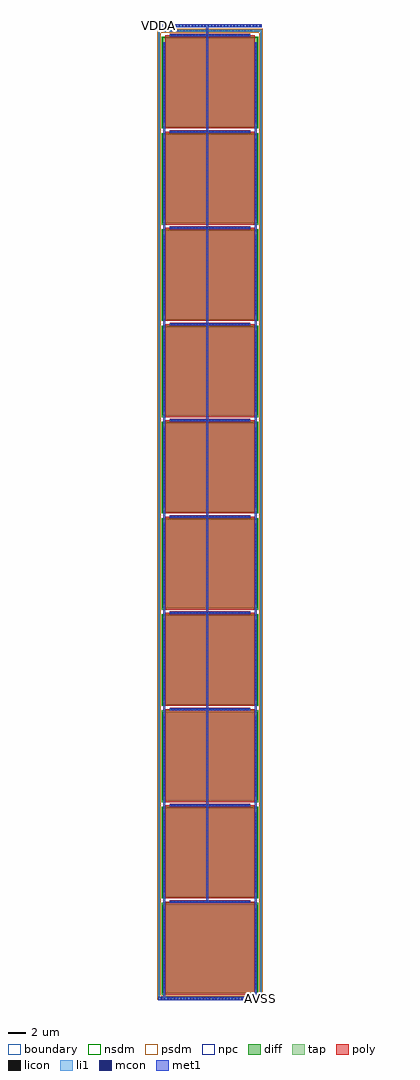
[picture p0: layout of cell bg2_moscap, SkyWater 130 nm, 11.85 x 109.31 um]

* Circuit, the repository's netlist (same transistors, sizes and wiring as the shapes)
* SPICE3 file created from bg2_moscap_lvs.ext - technology: sky130A

X0 AVSS VDDA AVSS AVSS sky130_fd_pr__nfet_01v8 ad=2.9 pd=20.58 as=2.9 ps=20.58 w=10 l=10
X1 AVSS VDDA AVSS AVSS sky130_fd_pr__nfet_01v8 ad=2.9 pd=20.58 as=2.9 ps=20.58 w=10 l=10
X2 AVSS VDDA AVSS AVSS sky130_fd_pr__nfet_01v8 ad=2.9 pd=20.58 as=2.9 ps=20.58 w=10 l=10
X3 AVSS VDDA AVSS AVSS sky130_fd_pr__nfet_01v8 ad=2.9 pd=20.58 as=2.9 ps=20.58 w=10 l=10
X4 AVSS VDDA AVSS AVSS sky130_fd_pr__nfet_01v8 ad=2.9 pd=20.58 as=2.9 ps=20.58 w=10 l=10
X5 AVSS VDDA AVSS AVSS sky130_fd_pr__nfet_01v8 ad=2.9 pd=20.58 as=2.9 ps=20.58 w=10 l=10
X6 AVSS VDDA AVSS AVSS sky130_fd_pr__nfet_01v8 ad=2.9 pd=20.58 as=2.9 ps=20.58 w=10 l=10
X7 AVSS VDDA AVSS AVSS sky130_fd_pr__nfet_01v8 ad=2.9 pd=20.58 as=2.9 ps=20.58 w=10 l=10
X8 AVSS VDDA AVSS AVSS sky130_fd_pr__nfet_01v8 ad=2.9 pd=20.58 as=2.9 ps=20.58 w=10 l=10
X9 AVSS VDDA AVSS AVSS sky130_fd_pr__nfet_01v8 ad=2.9 pd=20.58 as=2.9 ps=20.58 w=10 l=10

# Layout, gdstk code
import gdstk
lib = gdstk.Library(unit=1e-6, precision=1e-09)
def R(c, l, rs):  # rectangles x0, y0, x1, y1
    for r in rs: c.add(gdstk.rectangle(r[:2], r[2:], *l))
def A(c, l, x, y, w, h, nx, ny, dx, dy):  # array of equal rectangles
    R(c, l, [(x+i*dx, y+j*dy, x+i*dx+w, y+j*dy+h) for i in range(nx) for j in range(ny)])
diff = (65, 20)
tap = (65, 44)
poly = (66, 20)
licon = (66, 44)
li1 = (67, 20)
mcon = (67, 44)
met1 = (68, 20)
nsdm = (93, 44)
psdm = (94, 20)
npc = (95, 20)
boundary = (235, 4)

sky130_fd_pr__nfet_01v8_ = lib.new_cell('sky130_fd_pr__nfet_01v8_7BGF84')
A(sky130_fd_pr__nfet_01v8_, diff, -5.29, -53.665, 10.58, 10, 1, 10, 0, 10.78)
R(sky130_fd_pr__nfet_01v8_, tap, [(-5.8,-54.225,5.8,-54.055), (-5.8,-54.055,-5.63,54.055), (5.63,-54.055,5.8,54.055), (-5.8,54.055,5.8,54.225)])
A(sky130_fd_pr__nfet_01v8_, poly, -5, -53.795, 10, 10.405, 1, 10, 0, 10.78)
A(sky130_fd_pr__nfet_01v8_, poly, -4.51, -43.39, 9.02, 0.165, 1, 10, 0, 10.78)
A(sky130_fd_pr__nfet_01v8_, licon, -4.675, -54.225, 0.17, 0.17, 28, 2, 0.34, 108.28)
A(sky130_fd_pr__nfet_01v8_, licon, -5.23, -53, 0.17, 0.17, 1, 26, 0, 0.34)
A(sky130_fd_pr__nfet_01v8_, licon, 5.06, -53, 0.17, 0.17, 1, 26, 0, 0.34)
A(sky130_fd_pr__nfet_01v8_, licon, -5.8, -48.365, 0.17, 0.17, 1, 285, 0, 0.34)
A(sky130_fd_pr__nfet_01v8_, licon, 5.63, -48.365, 0.17, 0.17, 1, 285, 0, 0.34)
A(sky130_fd_pr__nfet_01v8_, licon, -4.335, -43.475, 0.17, 0.17, 26, 10, 0.34, 10.78)
A(sky130_fd_pr__nfet_01v8_, licon, -5.23, -42.22, 0.17, 0.17, 1, 26, 0, 0.34)
A(sky130_fd_pr__nfet_01v8_, licon, 5.06, -42.22, 0.17, 0.17, 1, 26, 0, 0.34)
A(sky130_fd_pr__nfet_01v8_, licon, -5.23, -31.44, 0.17, 0.17, 1, 26, 0, 0.34)
A(sky130_fd_pr__nfet_01v8_, licon, 5.06, -31.44, 0.17, 0.17, 1, 26, 0, 0.34)
A(sky130_fd_pr__nfet_01v8_, licon, -5.23, -20.66, 0.17, 0.17, 1, 26, 0, 0.34)
A(sky130_fd_pr__nfet_01v8_, licon, 5.06, -20.66, 0.17, 0.17, 1, 26, 0, 0.34)
A(sky130_fd_pr__nfet_01v8_, licon, -5.23, -9.88, 0.17, 0.17, 1, 26, 0, 0.34)
A(sky130_fd_pr__nfet_01v8_, licon, 5.06, -9.88, 0.17, 0.17, 1, 26, 0, 0.34)
A(sky130_fd_pr__nfet_01v8_, licon, -5.23, 0.9, 0.17, 0.17, 1, 26, 0, 0.34)
A(sky130_fd_pr__nfet_01v8_, licon, 5.06, 0.9, 0.17, 0.17, 1, 26, 0, 0.34)
A(sky130_fd_pr__nfet_01v8_, licon, -5.23, 11.68, 0.17, 0.17, 1, 26, 0, 0.34)
A(sky130_fd_pr__nfet_01v8_, licon, 5.06, 11.68, 0.17, 0.17, 1, 26, 0, 0.34)
A(sky130_fd_pr__nfet_01v8_, licon, -5.23, 22.46, 0.17, 0.17, 1, 26, 0, 0.34)
A(sky130_fd_pr__nfet_01v8_, licon, 5.06, 22.46, 0.17, 0.17, 1, 26, 0, 0.34)
A(sky130_fd_pr__nfet_01v8_, licon, -5.23, 33.24, 0.17, 0.17, 1, 26, 0, 0.34)
A(sky130_fd_pr__nfet_01v8_, licon, 5.06, 33.24, 0.17, 0.17, 1, 26, 0, 0.34)
A(sky130_fd_pr__nfet_01v8_, licon, -5.23, 44.02, 0.17, 0.17, 1, 26, 0, 0.34)
A(sky130_fd_pr__nfet_01v8_, licon, 5.06, 44.02, 0.17, 0.17, 1, 26, 0, 0.34)
A(sky130_fd_pr__nfet_01v8_, li1, -5.23, -53.19, 0.17, 9.05, 1, 10, 0, 10.78)
A(sky130_fd_pr__nfet_01v8_, li1, 5.06, -53.19, 0.17, 9.05, 1, 10, 0, 10.78)
A(sky130_fd_pr__nfet_01v8_, li1, -4.51, -43.475, 9.02, 0.17, 1, 10, 0, 10.78)
R(sky130_fd_pr__nfet_01v8_, li1, [(-5.8,-54.225,5.8,-54.055), (-5.8,-54.055,-5.63,54.055), (5.63,-54.055,5.8,54.055), (-5.8,54.055,5.8,54.225)])
A(sky130_fd_pr__nfet_01v8_, mcon, -5.23, -53.07, 0.17, 0.17, 1, 25, 0, 0.36)
A(sky130_fd_pr__nfet_01v8_, mcon, 5.06, -53.07, 0.17, 0.17, 1, 25, 0, 0.36)
A(sky130_fd_pr__nfet_01v8_, mcon, -4.405, -43.475, 0.17, 0.17, 25, 10, 0.36, 10.78)
A(sky130_fd_pr__nfet_01v8_, mcon, -5.23, -42.29, 0.17, 0.17, 1, 25, 0, 0.36)
A(sky130_fd_pr__nfet_01v8_, mcon, 5.06, -42.29, 0.17, 0.17, 1, 25, 0, 0.36)
A(sky130_fd_pr__nfet_01v8_, mcon, -5.23, -31.51, 0.17, 0.17, 1, 25, 0, 0.36)
A(sky130_fd_pr__nfet_01v8_, mcon, 5.06, -31.51, 0.17, 0.17, 1, 25, 0, 0.36)
A(sky130_fd_pr__nfet_01v8_, mcon, -5.23, -20.73, 0.17, 0.17, 1, 25, 0, 0.36)
A(sky130_fd_pr__nfet_01v8_, mcon, 5.06, -20.73, 0.17, 0.17, 1, 25, 0, 0.36)
A(sky130_fd_pr__nfet_01v8_, mcon, -5.23, -9.95, 0.17, 0.17, 1, 25, 0, 0.36)
A(sky130_fd_pr__nfet_01v8_, mcon, 5.06, -9.95, 0.17, 0.17, 1, 25, 0, 0.36)
A(sky130_fd_pr__nfet_01v8_, mcon, -5.23, 0.83, 0.17, 0.17, 1, 25, 0, 0.36)
A(sky130_fd_pr__nfet_01v8_, mcon, 5.06, 0.83, 0.17, 0.17, 1, 25, 0, 0.36)
A(sky130_fd_pr__nfet_01v8_, mcon, -5.23, 11.61, 0.17, 0.17, 1, 25, 0, 0.36)
A(sky130_fd_pr__nfet_01v8_, mcon, 5.06, 11.61, 0.17, 0.17, 1, 25, 0, 0.36)
A(sky130_fd_pr__nfet_01v8_, mcon, -5.23, 22.39, 0.17, 0.17, 1, 25, 0, 0.36)
A(sky130_fd_pr__nfet_01v8_, mcon, 5.06, 22.39, 0.17, 0.17, 1, 25, 0, 0.36)
A(sky130_fd_pr__nfet_01v8_, mcon, -5.23, 33.17, 0.17, 0.17, 1, 25, 0, 0.36)
A(sky130_fd_pr__nfet_01v8_, mcon, 5.06, 33.17, 0.17, 0.17, 1, 25, 0, 0.36)
A(sky130_fd_pr__nfet_01v8_, mcon, -5.23, 43.95, 0.17, 0.17, 1, 25, 0, 0.36)
A(sky130_fd_pr__nfet_01v8_, mcon, 5.06, 43.95, 0.17, 0.17, 1, 25, 0, 0.36)
A(sky130_fd_pr__nfet_01v8_, met1, -5.26, -53.17, 0.23, 9.01, 1, 10, 0, 10.78)
A(sky130_fd_pr__nfet_01v8_, met1, 5.03, -53.17, 0.23, 9.01, 1, 10, 0, 10.78)
A(sky130_fd_pr__nfet_01v8_, met1, -4.49, -43.505, 8.98, 0.23, 1, 10, 0, 10.78)
A(sky130_fd_pr__nfet_01v8_, nsdm, -5.415, -53.79, 10.83, 10.25, 1, 10, 0, 10.78)
R(sky130_fd_pr__nfet_01v8_, psdm, [(-5.925,-54.35,5.925,-53.93), (-5.925,-53.93,-5.505,53.93), (5.505,-53.93,5.925,53.93), (-5.925,53.93,5.925,54.35)])
A(sky130_fd_pr__nfet_01v8_, npc, -4.435, -43.575, 8.87, 0.37, 1, 10, 0, 10.78)
R(sky130_fd_pr__nfet_01v8_, boundary, [(-5.715,-54.14,5.715,54.14)])
sky130_fd_pr__nfet_01v8_.add(gdstk.Label('B', (0,-54.14), layer=67, texttype=5))
sky130_fd_pr__nfet_01v8_.add(gdstk.Label('D0', (-5.145,-48.665), layer=67, texttype=5))
sky130_fd_pr__nfet_01v8_.add(gdstk.Label('S0', (5.145,-48.665), layer=67, texttype=5))
sky130_fd_pr__nfet_01v8_.add(gdstk.Label('G0', (0,-43.39), layer=67, texttype=5))
sky130_fd_pr__nfet_01v8_.add(gdstk.Label('D1', (-5.145,-37.885), layer=67, texttype=5))
sky130_fd_pr__nfet_01v8_.add(gdstk.Label('S1', (5.145,-37.885), layer=67, texttype=5))
sky130_fd_pr__nfet_01v8_.add(gdstk.Label('G1', (0,-32.61), layer=67, texttype=5))
sky130_fd_pr__nfet_01v8_.add(gdstk.Label('D2', (-5.145,-27.105), layer=67, texttype=5))
sky130_fd_pr__nfet_01v8_.add(gdstk.Label('S2', (5.145,-27.105), layer=67, texttype=5))
sky130_fd_pr__nfet_01v8_.add(gdstk.Label('G2', (0,-21.83), layer=67, texttype=5))
sky130_fd_pr__nfet_01v8_.add(gdstk.Label('D3', (-5.145,-16.325), layer=67, texttype=5))
sky130_fd_pr__nfet_01v8_.add(gdstk.Label('S3', (5.145,-16.325), layer=67, texttype=5))
sky130_fd_pr__nfet_01v8_.add(gdstk.Label('G3', (0,-11.05), layer=67, texttype=5))
sky130_fd_pr__nfet_01v8_.add(gdstk.Label('D4', (-5.145,-5.545), layer=67, texttype=5))
sky130_fd_pr__nfet_01v8_.add(gdstk.Label('S4', (5.145,-5.545), layer=67, texttype=5))
sky130_fd_pr__nfet_01v8_.add(gdstk.Label('G4', (0,-0.27), layer=67, texttype=5))
sky130_fd_pr__nfet_01v8_.add(gdstk.Label('D5', (-5.145,5.235), layer=67, texttype=5))
sky130_fd_pr__nfet_01v8_.add(gdstk.Label('S5', (5.145,5.235), layer=67, texttype=5))
sky130_fd_pr__nfet_01v8_.add(gdstk.Label('G5', (0,10.51), layer=67, texttype=5))
sky130_fd_pr__nfet_01v8_.add(gdstk.Label('D6', (-5.145,16.015), layer=67, texttype=5))
sky130_fd_pr__nfet_01v8_.add(gdstk.Label('S6', (5.145,16.015), layer=67, texttype=5))
sky130_fd_pr__nfet_01v8_.add(gdstk.Label('G6', (0,21.29), layer=67, texttype=5))
sky130_fd_pr__nfet_01v8_.add(gdstk.Label('D7', (-5.145,26.795), layer=67, texttype=5))
sky130_fd_pr__nfet_01v8_.add(gdstk.Label('S7', (5.145,26.795), layer=67, texttype=5))
sky130_fd_pr__nfet_01v8_.add(gdstk.Label('G7', (0,32.07), layer=67, texttype=5))
sky130_fd_pr__nfet_01v8_.add(gdstk.Label('D8', (-5.145,37.575), layer=67, texttype=5))
sky130_fd_pr__nfet_01v8_.add(gdstk.Label('S8', (5.145,37.575), layer=67, texttype=5))
sky130_fd_pr__nfet_01v8_.add(gdstk.Label('G8', (0,42.85), layer=67, texttype=5))
sky130_fd_pr__nfet_01v8_.add(gdstk.Label('D9', (-5.145,48.355), layer=67, texttype=5))
sky130_fd_pr__nfet_01v8_.add(gdstk.Label('S9', (5.145,48.355), layer=67, texttype=5))
sky130_fd_pr__nfet_01v8_.add(gdstk.Label('G9', (0,53.63), layer=67, texttype=5))

bg2_moscap = lib.new_cell('bg2_moscap')
R(bg2_moscap, li1, [(-0.085,-0.265,11.515,0.085), (-0.085,108.195,11.515,108.38), (-0.085,108.7,11.515,109.05)])
A(bg2_moscap, mcon, 0.195, -0.175, 0.17, 0.17, 31, 1, 0.36, 0)
A(bg2_moscap, mcon, 0.045, 108.795, 0.17, 0.17, 32, 1, 0.36, 0)
R(bg2_moscap, met1, [(-0.085,-0.265,11.515,0.085), (0.455,0.085,0.685,98.385), (10.745,0.085,10.975,98.325), (5.295,10.635,5.525,108.7), (-0.085,108.7,11.515,109.05)])
bg2_moscap.add(gdstk.Reference(sky130_fd_pr__nfet_01v8_, (5.715,54.14)))
bg2_moscap.add(gdstk.Label('VDDA', (-0.035,108.865), layer=68, texttype=5))
bg2_moscap.add(gdstk.Label('AVSS', (11.36,-0.125), layer=68, texttype=5))

lib.write_gds('bg2_moscap.gds')
